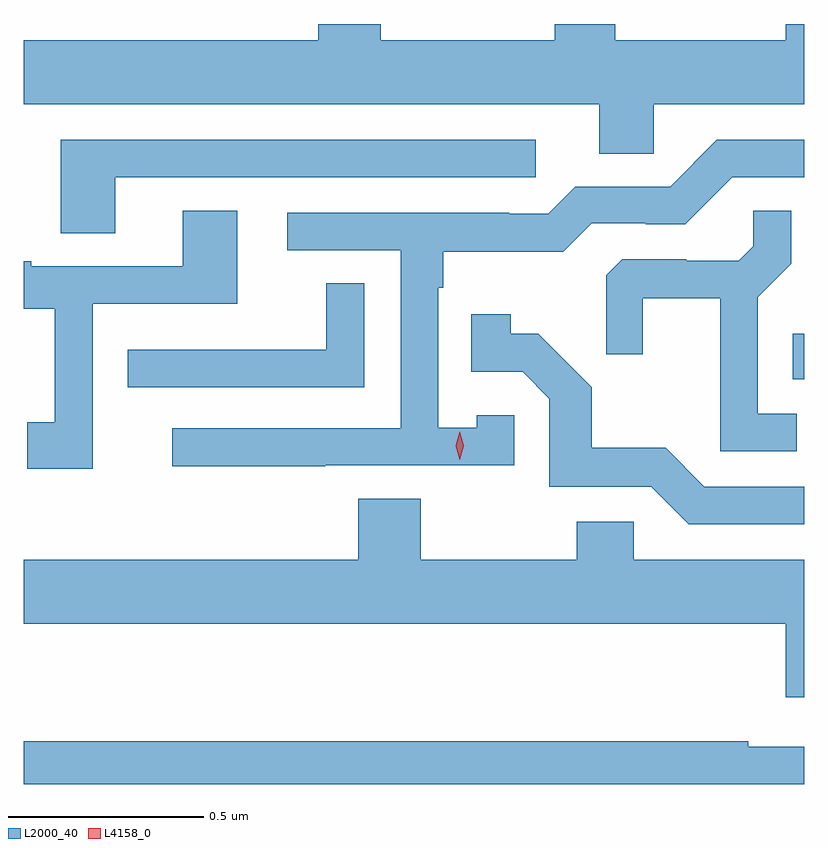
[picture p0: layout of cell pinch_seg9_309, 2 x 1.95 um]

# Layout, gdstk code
import gdstk
lib = gdstk.Library(unit=1e-6, precision=1e-09)
def R(c, l, rs):  # rectangles x0, y0, x1, y1
    for r in rs: c.add(gdstk.rectangle(r[:2], r[2:], *l))
def P(c, l, *ps):  # polygons
    for p in ps: c.add(gdstk.Polygon(p, *l))
L2000_40 = (2000, 40)
L4158_0 = (4158, 0)

pinch_seg9_309 = lib.new_cell('pinch_seg9_309')
R(pinch_seg9_309, L2000_40, [(428.762,1187.723,428.792,1187.839)])
P(pinch_seg9_309, L2000_40, [(428.406,1188.428),(428.792,1188.428),(428.792,1188.633),(428.744,1188.633),(428.744,1188.592),(428.307,1188.592),(428.307,1188.633),(428.152,1188.633),(428.152,1188.592),(427.707,1188.592),(427.707,1188.633),(427.547,1188.633),(427.547,1188.592),(426.792,1188.592),(426.792,1188.428),(428.267,1188.428),(428.267,1188.301),(428.406,1188.301)],
  [(427.027,1188.24),(428.104,1188.24),(428.104,1188.336),(426.887,1188.336),(426.887,1188.097),(427.027,1188.097)],
  [(427.565,1187.502),(428.049,1187.502),(428.049,1187.631),(427.953,1187.631),(427.953,1187.599),(427.854,1187.599),(427.854,1187.957),(427.867,1187.957),(427.867,1188.05),(428.174,1188.05),(428.247,1188.123),(428.386,1188.123),(428.386,1188.12),(428.487,1188.12),(428.607,1188.24),(428.792,1188.24),(428.792,1188.336),(428.568,1188.336),(428.448,1188.216),(428.205,1188.216),(428.136,1188.147),(428.036,1188.147),(428.036,1188.15),(427.467,1188.15),(427.467,1188.054),(427.758,1188.054),(427.758,1187.598),(427.173,1187.598),(427.173,1187.5),(427.565,1187.5)],
  [(428.773,1187.634),(428.673,1187.634),(428.673,1187.933),(428.759,1188.019),(428.759,1188.155),(428.661,1188.155),(428.661,1188.064),(428.624,1188.027),(428.49,1188.027),(428.49,1188.03),(428.325,1188.03),(428.284,1187.989),(428.284,1187.787),(428.378,1187.787),(428.378,1187.93),(428.576,1187.93),(428.576,1187.538),(428.773,1187.538)],
  [(426.969,1187.916),(427.339,1187.916),(427.339,1188.155),(427.199,1188.155),(427.199,1188.012),(426.811,1188.012),(426.811,1188.025),(426.792,1188.025),(426.792,1187.904),(426.872,1187.904),(426.872,1187.613),(426.801,1187.613),(426.801,1187.493),(426.969,1187.493)],
  [(427.665,1187.969),(427.567,1187.969),(427.567,1187.799),(427.171,1187.799),(427.171,1187.798),(427.059,1187.798),(427.059,1187.703),(427.665,1187.703)],
  [(428.792,1187.448),(428.535,1187.448),(428.437,1187.547),(428.248,1187.547),(428.248,1187.702),(428.11,1187.84),(428.04,1187.84),(428.04,1187.89),(427.939,1187.89),(427.939,1187.742),(428.07,1187.742),(428.139,1187.673),(428.139,1187.448),(428.4,1187.448),(428.496,1187.352),(428.792,1187.352)],
  [(428.792,1187.26),(428.355,1187.26),(428.355,1187.358),(428.209,1187.358),(428.209,1187.26),(427.809,1187.26),(427.809,1187.417),(427.649,1187.417),(427.649,1187.26),(426.792,1187.26),(426.792,1187.096),(428.744,1187.096),(428.744,1186.908),(428.792,1186.908)],
  [(428.792,1186.782),(428.648,1186.782),(428.648,1186.795),(426.792,1186.795),(426.792,1186.686),(428.792,1186.686)])
P(pinch_seg9_309, L4158_0, [(427.909,1187.517),(427.909,1187.517),(427.899,1187.553),(427.909,1187.589),(427.909,1187.589),(427.909,1187.589),(427.919,1187.553),(427.909,1187.517)])

lib.write_gds('pinch_seg9_309.gds')
